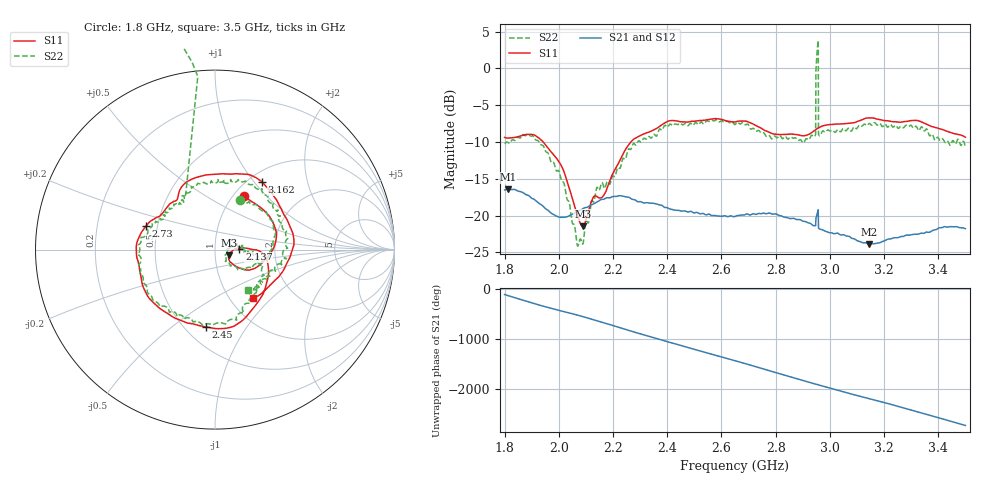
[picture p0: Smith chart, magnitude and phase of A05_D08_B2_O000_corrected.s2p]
! Created with skrf 1.9.0 (http://scikit-rf.org).
# Hz S RI R 50.0
!freq ReS11 ImS11 ReS21 ImS21 ReS12 ImS12 ReS22 ImS22
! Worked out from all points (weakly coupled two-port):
!   1601 points, 1.8 GHz to 3.5 GHz, reference 50 ohm
!   highest |S21| = -16.42 dB at 1.812 GHz (marker M1); lowest = -23.9 dB at 3.144 GHz (marker M2)
!   lowest |S11| = -21.5 dB at 2.088 GHz (marker M3), VSWR 1.18, Z = 58.4 - j3.73 ohm
!   |S11| at or under -10 dB: 1.942 GHz to 2.266 GHz (323.8 MHz wide, 15.4 % of centre)
!   |S22| runs from -24.2 to 3.8 dB; largest |S21 - S12| = 0.003
!   S11 on the Smith chart (normalised r, x): 1.8 GHz: 1.12, +0.75; 2.137 GHz: 1.31, +0.01; 2.45 GHz: 0.63, -0.67; 2.73 GHz: 0.43, +0.13; 3.162 GHz: 1.15, +1.10; 3.5 GHz: 1.27, -0.77
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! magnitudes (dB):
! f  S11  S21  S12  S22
! 1.8 GHz  -9.4  -16.5  -16.5  -10.2
! 1.812 GHz  -9.5  -16.4  -16.4  -10.1
! 1.941 GHz  -10.0  -18.7  -18.7  -10.5
! 2.013 GHz  -13.5  -20.2  -20.2  -15.4
! 2.067 GHz  -19.8  -19.5  -19.5  -23.8
! 2.084 GHz  -21.3  -19.2  -19.2  -23.5
! 2.088 GHz  -21.5  -19.1  -19.1  -23.9
! 2.137 GHz  -17.3  -18.2  -18.2  -16.6
! 2.268 GHz  -9.9  -17.7  -17.7  -10.9
! 2.367 GHz  -8.0  -18.5  -18.5  -8.5
! 2.45 GHz  -7.3  -19.4  -19.4  -7.5
! 2.65 GHz  -7.3  -20.1  -20.1  -7.6
! 2.73 GHz  -7.8  -19.8  -19.9  -8.5
! 2.934 GHz  -8.7  -21.2  -21.2  -9.1
! 2.939 GHz  -8.6  -21.4  -21.3  -9.3
! 2.952 GHz  -8.2  -19.9  -19.9  1.7
! 2.957 GHz  -8.1  -19.2  -19.2  3.8
! 2.967 GHz  -7.9  -21.9  -21.9  -9.0
! 3.144 GHz  -6.7  -23.9  -23.8  -7.5
! 3.162 GHz  -6.8  -23.9  -23.8  -7.4
! 3.217 GHz  -7.1  -23.2  -23.2  -7.9
! 3.5 GHz  -9.4  -21.8  -21.8  -10.7
